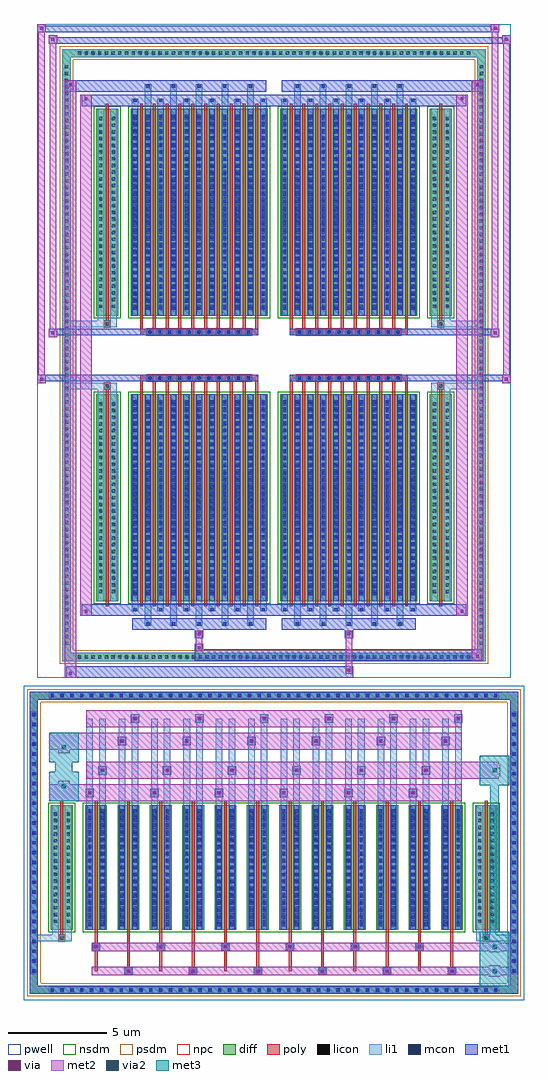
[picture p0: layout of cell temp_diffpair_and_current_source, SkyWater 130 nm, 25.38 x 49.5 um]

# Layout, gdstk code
import gdstk
lib = gdstk.Library(unit=1e-6, precision=5e-09)
def R(c, l, rs):  # rectangles x0, y0, x1, y1
    for r in rs: c.add(gdstk.rectangle(r[:2], r[2:], *l))
def A(c, l, x, y, w, h, nx, ny, dx, dy):  # array of equal rectangles
    R(c, l, [(x+i*dx, y+j*dy, x+i*dx+w, y+j*dy+h) for i in range(nx) for j in range(ny)])
def P(c, l, *ps):  # polygons
    for p in ps: c.add(gdstk.Polygon(p, *l))
pwell = (64, 44)
diff = (65, 20)
poly = (66, 20)
licon = (66, 44)
li1 = (67, 20)
mcon = (67, 44)
met1 = (68, 20)
via = (68, 44)
met2 = (69, 20)
via2 = (69, 44)
met3 = (70, 20)
nsdm = (93, 44)
psdm = (94, 20)
npc = (95, 20)

diff_pair_5f8ec16b = lib.new_cell('diff_pair_5f8ec16b')
R(diff_pair_5f8ec16b, pwell, [(-12,-16.36,12,16.79), (-9.32,-14.11,-0.01,-0.805), (0.01,-14.11,9.32,-0.805), (-9.32,0.805,-0.01,14.11), (0.01,0.805,9.32,14.11)])
A(diff_pair_5f8ec16b, diff, -10.065, -15.52, 0.41, 0.41, 59, 2, 0.34, 30.63)
A(diff_pair_5f8ec16b, diff, -10.73, -14.825, 0.41, 0.41, 1, 87, 0, 0.34)
A(diff_pair_5f8ec16b, diff, 10.32, -14.825, 0.41, 0.41, 1, 87, 0, 0.34)
R(diff_pair_5f8ec16b, diff, [(-10.065,-15.52,10.065,-15.11), (-10.73,-14.825,-10.32,14.825), (10.32,-14.825,10.73,14.825), (-9.01,-12.485,-7.91,-1.985), (-7.27,-12.485,-0.32,-1.985), (0.32,-12.485,7.27,-1.985), (7.91,-12.485,9.01,-1.985), (-9.01,1.985,-7.91,12.485), (-7.27,1.985,-0.32,12.485), (0.32,1.985,7.27,12.485), (7.91,1.985,9.01,12.485), (-10.065,15.11,10.065,15.52)])
P(diff_pair_5f8ec16b, diff, [(10.73,15.52),(-10.73,15.52),(-10.73,-15.11),(-10.32,-15.11),(-10.32,15.11),(10.32,15.11),(10.32,-15.11),(-10.32,-15.11),(-10.73,-15.11),(-10.73,-15.52),(10.73,-15.52)])
A(diff_pair_5f8ec16b, poly, -6.795, -12.735, 0.15, 11, 10, 2, 0.65, 14.47)
A(diff_pair_5f8ec16b, poly, 0.795, -12.735, 0.15, 11, 10, 2, 0.65, 14.47)
A(diff_pair_5f8ec16b, poly, -6.795, -1.735, 0.15, 0.4, 10, 2, 0.65, 3.07)
A(diff_pair_5f8ec16b, poly, 0.795, -1.735, 0.15, 0.4, 10, 2, 0.65, 3.07)
A(diff_pair_5f8ec16b, poly, -6.46, -1.335, 0.33, 0.33, 11, 2, 0.5, 2.34)
A(diff_pair_5f8ec16b, poly, 1.13, -1.335, 0.33, 0.33, 11, 2, 0.5, 2.34)
R(diff_pair_5f8ec16b, poly, [(-8.535,-12.735,-8.385,-1.735), (8.385,-12.735,8.535,-1.735), (-8.625,-1.735,-8.295,-1.405), (-8.625,-1.735,-8.295,-1.405), (8.295,-1.735,8.625,-1.405), (8.295,-1.735,8.625,-1.405), (-6.795,-1.335,-0.795,-1.005), (0.795,-1.335,6.795,-1.005), (-6.795,1.005,-0.795,1.335), (0.795,1.005,6.795,1.335), (-8.625,1.405,-8.295,1.735), (-8.625,1.405,-8.295,1.735), (8.295,1.405,8.625,1.735), (8.295,1.405,8.625,1.735), (-8.535,1.735,-8.385,12.735), (8.385,1.735,8.535,12.735)])
A(diff_pair_5f8ec16b, licon, -9.945, -15.4, 0.17, 0.17, 59, 2, 0.34, 30.63)
A(diff_pair_5f8ec16b, licon, -10.61, -14.705, 0.17, 0.17, 1, 87, 0, 0.34)
A(diff_pair_5f8ec16b, licon, 10.44, -14.705, 0.17, 0.17, 1, 87, 0, 0.34)
A(diff_pair_5f8ec16b, licon, -8.87, -12.08, 0.17, 0.17, 1, 29, 0, 0.34)
A(diff_pair_5f8ec16b, licon, -8.22, -12.08, 0.17, 0.17, 1, 29, 0, 0.34)
A(diff_pair_5f8ec16b, licon, -7.13, -12.08, 0.17, 0.17, 11, 29, 0.65, 0.34)
A(diff_pair_5f8ec16b, licon, 0.46, -12.08, 0.17, 0.17, 11, 29, 0.65, 0.34)
A(diff_pair_5f8ec16b, licon, 8.05, -12.08, 0.17, 0.17, 1, 29, 0, 0.34)
A(diff_pair_5f8ec16b, licon, 8.7, -12.08, 0.17, 0.17, 1, 29, 0, 0.34)
A(diff_pair_5f8ec16b, licon, -6.38, -1.255, 0.17, 0.17, 11, 2, 0.5, 2.34)
A(diff_pair_5f8ec16b, licon, 1.21, -1.255, 0.17, 0.17, 11, 2, 0.5, 2.34)
A(diff_pair_5f8ec16b, licon, -8.87, 2.39, 0.17, 0.17, 1, 29, 0, 0.34)
A(diff_pair_5f8ec16b, licon, -8.22, 2.39, 0.17, 0.17, 1, 29, 0, 0.34)
A(diff_pair_5f8ec16b, licon, -7.13, 2.39, 0.17, 0.17, 11, 29, 0.65, 0.34)
A(diff_pair_5f8ec16b, licon, 0.46, 2.39, 0.17, 0.17, 11, 29, 0.65, 0.34)
A(diff_pair_5f8ec16b, licon, 8.05, 2.39, 0.17, 0.17, 1, 29, 0, 0.34)
A(diff_pair_5f8ec16b, licon, 8.7, 2.39, 0.17, 0.17, 1, 29, 0, 0.34)
R(diff_pair_5f8ec16b, licon, [(-8.545,-1.655,-8.375,-1.485), (8.375,-1.655,8.545,-1.485), (-8.545,1.485,-8.375,1.655), (8.375,1.485,8.545,1.655)])
A(diff_pair_5f8ec16b, li1, -10.025, -15.48, 0.33, 0.33, 59, 2, 0.34, 30.63)
A(diff_pair_5f8ec16b, li1, -10.69, -14.785, 0.33, 0.33, 1, 87, 0, 0.34)
A(diff_pair_5f8ec16b, li1, 10.36, -14.785, 0.33, 0.33, 1, 87, 0, 0.34)
A(diff_pair_5f8ec16b, li1, -6.56, -13.725, 0.33, 1.24, 5, 2, 1.3, 26.21)
A(diff_pair_5f8ec16b, li1, -6.48, -13.725, 0.17, 0.17, 5, 2, 1.3, 27.28)
A(diff_pair_5f8ec16b, li1, 1.03, -13.725, 0.33, 1.24, 5, 2, 1.3, 26.21)
A(diff_pair_5f8ec16b, li1, 1.11, -13.725, 0.17, 0.17, 5, 2, 1.3, 27.28)
A(diff_pair_5f8ec16b, li1, -7.21, -13.005, 0.33, 0.52, 6, 2, 1.3, 25.49)
A(diff_pair_5f8ec16b, li1, -7.13, -13.005, 0.17, 0.17, 6, 2, 1.3, 25.84)
A(diff_pair_5f8ec16b, li1, 0.38, -13.005, 0.33, 0.52, 6, 2, 1.3, 25.49)
A(diff_pair_5f8ec16b, li1, 0.46, -13.005, 0.17, 0.17, 6, 2, 1.3, 25.84)
A(diff_pair_5f8ec16b, li1, -7.21, -12.485, 0.33, 10.5, 11, 2, 0.65, 14.47)
A(diff_pair_5f8ec16b, li1, 0.38, -12.485, 0.33, 10.5, 11, 2, 0.65, 14.47)
A(diff_pair_5f8ec16b, li1, -7.13, -12.18, 0.17, 0.17, 11, 28, 0.65, 0.36)
A(diff_pair_5f8ec16b, li1, -7.13, -12.18, 0.17, 9.89, 11, 2, 0.65, 14.47)
A(diff_pair_5f8ec16b, li1, 0.46, -12.18, 0.17, 0.17, 11, 28, 0.65, 0.36)
A(diff_pair_5f8ec16b, li1, 0.46, -12.18, 0.17, 9.89, 11, 2, 0.65, 14.47)
A(diff_pair_5f8ec16b, li1, -8.95, -12.16, 0.33, 0.33, 1, 29, 0, 0.34)
A(diff_pair_5f8ec16b, li1, -8.3, -12.16, 0.33, 0.33, 1, 29, 0, 0.34)
A(diff_pair_5f8ec16b, li1, -7.21, -12.16, 0.33, 0.33, 11, 29, 0.65, 0.34)
A(diff_pair_5f8ec16b, li1, 0.38, -12.16, 0.33, 0.33, 11, 29, 0.65, 0.34)
A(diff_pair_5f8ec16b, li1, 7.97, -12.16, 0.33, 0.33, 1, 29, 0, 0.34)
A(diff_pair_5f8ec16b, li1, 8.62, -12.16, 0.33, 0.33, 1, 29, 0, 0.34)
A(diff_pair_5f8ec16b, li1, -6.46, -1.335, 0.33, 0.33, 11, 2, 0.5, 2.34)
A(diff_pair_5f8ec16b, li1, 1.13, -1.335, 0.33, 0.33, 11, 2, 0.5, 2.34)
A(diff_pair_5f8ec16b, li1, -7.13, 2.29, 0.17, 0.17, 11, 28, 0.65, 0.36)
A(diff_pair_5f8ec16b, li1, 0.46, 2.29, 0.17, 0.17, 11, 28, 0.65, 0.36)
A(diff_pair_5f8ec16b, li1, -8.95, 2.31, 0.33, 0.33, 1, 29, 0, 0.34)
A(diff_pair_5f8ec16b, li1, -8.3, 2.31, 0.33, 0.33, 1, 29, 0, 0.34)
A(diff_pair_5f8ec16b, li1, -7.21, 2.31, 0.33, 0.33, 11, 29, 0.65, 0.34)
A(diff_pair_5f8ec16b, li1, 0.38, 2.31, 0.33, 0.33, 11, 29, 0.65, 0.34)
A(diff_pair_5f8ec16b, li1, 7.97, 2.31, 0.33, 0.33, 1, 29, 0, 0.34)
A(diff_pair_5f8ec16b, li1, 8.62, 2.31, 0.33, 0.33, 1, 29, 0, 0.34)
R(diff_pair_5f8ec16b, li1, [(-10.73,-15.52,-10.32,-15.11), (-10.73,-15.52,-10.32,-15.11), (-10.32,-15.52,10.32,-15.11), (10.32,-15.52,10.73,-15.11), (10.32,-15.52,10.73,-15.11), (-10.73,-15.11,-10.32,15.11), (10.32,-15.11,10.73,15.11), (-8.95,-12.485,-8.62,-1.985), (-8.3,-12.485,-7.97,-1.985), (7.97,-12.485,8.3,-1.985), (8.62,-12.485,8.95,-1.985), (-8.95,-1.985,-8.62,-1.405), (-8.3,-1.985,-7.97,-1.405), (7.97,-1.985,8.3,-1.405), (8.62,-1.985,8.95,-1.405), (-10.73,-1.735,-8.625,-1.405), (-8.95,-1.735,-8.625,-1.405), (-8.625,-1.735,-8.295,-1.405), (-8.295,-1.735,-7.97,-1.405), (7.97,-1.735,8.295,-1.405), (8.295,-1.735,8.625,-1.405), (8.295,-1.735,10.73,-1.405), (8.625,-1.735,8.95,-1.405), (-10.73,1.405,-8.625,1.735), (-8.95,1.405,-8.625,1.735), (-8.95,1.405,-8.62,1.985), (-8.625,1.405,-8.295,1.735), (-8.3,1.405,-7.97,1.985), (-8.295,1.405,-7.97,1.735), (7.97,1.405,8.295,1.735), (7.97,1.405,8.3,1.985), (8.295,1.405,8.625,1.735), (8.295,1.405,10.73,1.735), (8.62,1.405,8.95,1.985), (8.625,1.405,8.95,1.735), (-8.95,1.985,-8.62,12.485), (-8.3,1.985,-7.97,12.485), (7.97,1.985,8.3,12.485), (8.62,1.985,8.95,12.485), (-10.73,15.11,-10.32,15.52), (-10.73,15.11,-10.32,15.52), (-10.32,15.11,10.32,15.52), (10.32,15.11,10.73,15.52), (10.32,15.11,10.73,15.52)])
A(diff_pair_5f8ec16b, mcon, -6.48, -13.725, 0.17, 0.17, 5, 2, 1.3, 27.28)
A(diff_pair_5f8ec16b, mcon, 1.11, -13.725, 0.17, 0.17, 5, 2, 1.3, 27.28)
A(diff_pair_5f8ec16b, mcon, -7.13, -13.005, 0.17, 0.17, 6, 2, 1.3, 25.84)
A(diff_pair_5f8ec16b, mcon, 0.46, -13.005, 0.17, 0.17, 6, 2, 1.3, 25.84)
A(diff_pair_5f8ec16b, mcon, -7.13, -12.18, 0.17, 0.17, 11, 28, 0.65, 0.36)
A(diff_pair_5f8ec16b, mcon, 0.46, -12.18, 0.17, 0.17, 11, 28, 0.65, 0.36)
A(diff_pair_5f8ec16b, mcon, -6.38, -1.255, 0.17, 0.17, 11, 2, 0.5, 2.34)
A(diff_pair_5f8ec16b, mcon, 1.21, -1.255, 0.17, 0.17, 11, 2, 0.5, 2.34)
A(diff_pair_5f8ec16b, mcon, -7.13, 2.29, 0.17, 0.17, 11, 28, 0.65, 0.36)
A(diff_pair_5f8ec16b, mcon, 0.46, 2.29, 0.17, 0.17, 11, 28, 0.65, 0.36)
A(diff_pair_5f8ec16b, met1, -6.54, -13.785, 0.29, 0.29, 5, 2, 1.3, 27.28)
A(diff_pair_5f8ec16b, met1, 1.05, -13.785, 0.29, 0.29, 5, 2, 1.3, 27.28)
A(diff_pair_5f8ec16b, met1, -7.19, -13.065, 0.29, 0.29, 6, 2, 1.3, 25.84)
A(diff_pair_5f8ec16b, met1, 0.4, -13.065, 0.29, 0.29, 6, 2, 1.3, 25.84)
A(diff_pair_5f8ec16b, met1, -7.19, -12.485, 0.29, 10.5, 11, 2, 0.65, 14.47)
A(diff_pair_5f8ec16b, met1, 0.4, -12.485, 0.29, 10.5, 11, 2, 0.65, 14.47)
A(diff_pair_5f8ec16b, met1, -7.19, -12.24, 0.29, 0.29, 11, 28, 0.65, 0.36)
A(diff_pair_5f8ec16b, met1, 0.4, -12.24, 0.29, 0.29, 11, 28, 0.65, 0.36)
A(diff_pair_5f8ec16b, met1, -6.44, -1.315, 0.29, 0.29, 11, 2, 0.5, 2.34)
A(diff_pair_5f8ec16b, met1, 1.15, -1.315, 0.29, 0.29, 11, 2, 0.5, 2.34)
A(diff_pair_5f8ec16b, met1, -7.19, 2.23, 0.29, 0.29, 11, 28, 0.65, 0.36)
A(diff_pair_5f8ec16b, met1, 0.4, 2.23, 0.29, 0.29, 11, 28, 0.65, 0.36)
R(diff_pair_5f8ec16b, met1, [(-10.535,-16.36,-10.105,-15.93), (-10.535,-16.36,4.01,-15.78), (3.58,-16.21,4.01,-15.78), (-4.01,-15.5,10.535,-14.92), (10.105,-15.5,10.535,-15.07), (-4.01,-15.07,-3.58,-14.64), (-4.01,-14.36,-3.58,-13.93), (3.58,-14.36,4.01,-13.93), (-7.19,-13.93,-0.4,-13.35), (0.4,-13.93,7.19,-13.35), (-9.75,-13.21,-9.32,-12.78), (-9.75,-13.21,-7.19,-12.63), (-7.19,-13.21,-0.4,-12.63), (-0.4,-13.21,0.4,-12.63), (0.4,-13.21,7.19,-12.63), (7.19,-13.21,9.75,-12.63), (9.32,-13.21,9.75,-12.78), (-12,-1.435,-11.57,-1.005), (11.57,-1.435,12,-1.005), (-12,-1.335,-0.795,-1.005), (-6.795,-1.335,-0.795,-1.005), (0.795,-1.335,6.795,-1.005), (0.795,-1.335,12,-1.005), (-11.43,0.905,-11,1.335), (11,0.905,11.43,1.335), (-11.43,1.005,-6.795,1.335), (-6.795,1.005,-0.795,1.335), (0.795,1.005,6.795,1.335), (6.795,1.005,11.43,1.335), (-9.75,12.63,-7.19,13.21), (-7.19,12.63,-0.4,13.21), (-0.4,12.63,0.4,13.21), (0.4,12.63,7.19,13.21), (7.19,12.63,9.75,13.21), (-9.75,12.78,-9.32,13.21), (9.32,12.78,9.75,13.21), (-10.535,13.35,-7.19,13.93), (-7.19,13.35,-0.4,13.93), (0.4,13.35,7.19,13.93), (7.19,13.35,10.535,13.93), (-10.535,13.5,-10.105,13.93), (10.105,13.5,10.535,13.93), (-11.43,15.79,-11,16.22), (-11.43,15.79,-9.32,16.12), (-9.32,15.79,9.32,16.12), (9.32,15.79,12,16.12), (11.57,15.79,12,16.22), (-12,16.36,-11.57,16.79), (-12,16.36,-9.32,16.69), (-9.32,16.36,9.32,16.69), (9.32,16.36,11.43,16.69), (11,16.36,11.43,16.79)])
R(diff_pair_5f8ec16b, via, [(-10.395,-16.22,-10.245,-16.07), (3.72,-16.07,3.87,-15.92), (10.245,-15.36,10.395,-15.21), (-3.87,-14.93,-3.72,-14.78), (-3.87,-14.22,-3.72,-14.07), (3.72,-14.22,3.87,-14.07), (-9.61,-13.07,-9.46,-12.92), (9.46,-13.07,9.61,-12.92), (-11.86,-1.295,-11.71,-1.145), (11.71,-1.295,11.86,-1.145), (-11.29,1.045,-11.14,1.195), (11.14,1.045,11.29,1.195), (-9.61,12.92,-9.46,13.07), (9.46,12.92,9.61,13.07), (-10.395,13.64,-10.245,13.79), (10.245,13.64,10.395,13.79), (-11.29,15.93,-11.14,16.08), (11.71,15.93,11.86,16.08), (-11.86,16.5,-11.71,16.65), (11.14,16.5,11.29,16.65)])
R(diff_pair_5f8ec16b, met2, [(-10.61,-16.36,-10.03,13.93), (-10.535,-16.36,-10.105,-15.93), (-10.105,-16.36,-10.03,-15.93), (-10.485,-16.31,-10.155,-15.98), (3.63,-16.16,3.96,-15.83), (3.63,-15.83,3.96,-14.31), (10.03,-15.5,10.61,13.93), (10.105,-15.5,10.535,-15.07), (10.535,-15.5,10.61,-15.07), (10.155,-15.45,10.485,-15.12), (-3.96,-15.02,-3.63,-14.69), (-3.96,-14.69,-3.63,-14.31), (-3.96,-14.31,-3.63,-13.98), (3.63,-14.31,3.96,-13.98), (-9.825,-13.21,-9.245,13.21), (-9.75,-13.21,-9.32,-12.78), (-9.32,-13.21,-9.245,-12.78), (9.245,-13.21,9.825,13.21), (9.32,-13.21,9.75,-12.78), (9.75,-13.21,9.825,-12.78), (-9.7,-13.16,-9.37,-12.83), (9.37,-13.16,9.7,-12.83), (-12,-1.435,-11.57,-1.005), (-11.95,-1.435,-11.62,16.79), (-11.62,-1.435,-11.57,-1.005), (11.57,-1.435,12,-1.005), (11.62,-1.435,11.95,16.22), (11.95,-1.435,12,-1.005), (-11.95,-1.385,-11.62,-1.055), (11.62,-1.385,11.95,-1.055), (-11.43,0.905,-11,1.335), (-11.38,0.905,-11.05,16.22), (-11.05,0.905,-11,1.335), (11,0.905,11.43,1.335), (11.05,0.905,11.38,16.79), (11.38,0.905,11.43,1.335), (-11.38,0.955,-11.05,1.285), (11.05,0.955,11.38,1.285), (-9.75,12.78,-9.32,13.21), (-9.32,12.78,-9.245,13.21), (9.32,12.78,9.75,13.21), (9.75,12.78,9.825,13.21), (-9.7,12.83,-9.37,13.16), (9.37,12.83,9.7,13.16), (-10.535,13.5,-10.105,13.93), (-10.105,13.5,-10.03,13.93), (10.105,13.5,10.535,13.93), (10.535,13.5,10.61,13.93), (-10.485,13.55,-10.155,13.88), (10.155,13.55,10.485,13.88), (-11.43,15.79,-11,16.22), (-11.05,15.79,-11,16.22), (11.57,15.79,12,16.22), (11.95,15.79,12,16.22), (-11.38,15.84,-11.05,16.17), (11.62,15.84,11.95,16.17), (-12,16.36,-11.57,16.79), (-11.62,16.36,-11.57,16.79), (11,16.36,11.43,16.79), (11.38,16.36,11.43,16.79), (-11.95,16.41,-11.62,16.74), (11.05,16.41,11.38,16.74)])
R(diff_pair_5f8ec16b, nsdm, [(-9.14,-12.615,-7.78,-1.855), (-7.4,-12.615,-0.19,-1.855), (0.19,-12.615,7.4,-1.855), (7.78,-12.615,9.14,-1.855), (-9.14,1.855,-7.78,12.615), (-7.4,1.855,-0.19,12.615), (0.19,1.855,7.4,12.615), (7.78,1.855,9.14,12.615)])
P(diff_pair_5f8ec16b, psdm, [(10.86,15.65),(-10.86,15.65),(-10.86,-14.98),(-10.19,-14.98),(-10.19,14.98),(10.19,14.98),(10.19,-14.98),(-10.19,-14.98),(-10.86,-14.98),(-10.86,-15.65),(10.86,-15.65)])
A(diff_pair_5f8ec16b, npc, -6.48, -1.355, 0.37, 0.37, 11, 2, 0.5, 2.34)
A(diff_pair_5f8ec16b, npc, 1.11, -1.355, 0.37, 0.37, 11, 2, 0.5, 2.34)
R(diff_pair_5f8ec16b, npc, [(-8.645,-1.755,-8.275,-1.385), (8.275,-1.755,8.645,-1.385), (-6.48,-1.355,-5.61,-0.985), (-6.48,-1.355,-5.61,-0.985), (-5.98,-1.355,-5.11,-0.985), (-5.98,-1.355,-5.11,-0.985), (-5.48,-1.355,-4.61,-0.985), (-5.48,-1.355,-4.61,-0.985), (-4.98,-1.355,-4.11,-0.985), (-4.98,-1.355,-4.11,-0.985), (-4.48,-1.355,-3.61,-0.985), (-4.48,-1.355,-3.61,-0.985), (-3.98,-1.355,-3.11,-0.985), (-3.98,-1.355,-3.11,-0.985), (-3.48,-1.355,-2.61,-0.985), (-3.48,-1.355,-2.61,-0.985), (-2.98,-1.355,-2.11,-0.985), (-2.98,-1.355,-2.11,-0.985), (-2.48,-1.355,-1.61,-0.985), (-2.48,-1.355,-1.61,-0.985), (-1.98,-1.355,-1.11,-0.985), (-1.98,-1.355,-1.11,-0.985), (1.11,-1.355,1.98,-0.985), (1.11,-1.355,1.98,-0.985), (1.61,-1.355,2.48,-0.985), (1.61,-1.355,2.48,-0.985), (2.11,-1.355,2.98,-0.985), (2.11,-1.355,2.98,-0.985), (2.61,-1.355,3.48,-0.985), (2.61,-1.355,3.48,-0.985), (3.11,-1.355,3.98,-0.985), (3.11,-1.355,3.98,-0.985), (3.61,-1.355,4.48,-0.985), (3.61,-1.355,4.48,-0.985), (4.11,-1.355,4.98,-0.985), (4.11,-1.355,4.98,-0.985), (4.61,-1.355,5.48,-0.985), (4.61,-1.355,5.48,-0.985), (5.11,-1.355,5.98,-0.985), (5.11,-1.355,5.98,-0.985), (5.61,-1.355,6.48,-0.985), (5.61,-1.355,6.48,-0.985), (-6.48,0.985,-5.61,1.355), (-6.48,0.985,-5.61,1.355), (-5.98,0.985,-5.11,1.355), (-5.98,0.985,-5.11,1.355), (-5.48,0.985,-4.61,1.355), (-5.48,0.985,-4.61,1.355), (-4.98,0.985,-4.11,1.355), (-4.98,0.985,-4.11,1.355), (-4.48,0.985,-3.61,1.355), (-4.48,0.985,-3.61,1.355), (-3.98,0.985,-3.11,1.355), (-3.98,0.985,-3.11,1.355), (-3.48,0.985,-2.61,1.355), (-3.48,0.985,-2.61,1.355), (-2.98,0.985,-2.11,1.355), (-2.98,0.985,-2.11,1.355), (-2.48,0.985,-1.61,1.355), (-2.48,0.985,-1.61,1.355), (-1.98,0.985,-1.11,1.355), (-1.98,0.985,-1.11,1.355), (1.11,0.985,1.98,1.355), (1.11,0.985,1.98,1.355), (1.61,0.985,2.48,1.355), (1.61,0.985,2.48,1.355), (2.11,0.985,2.98,1.355), (2.11,0.985,2.98,1.355), (2.61,0.985,3.48,1.355), (2.61,0.985,3.48,1.355), (3.11,0.985,3.98,1.355), (3.11,0.985,3.98,1.355), (3.61,0.985,4.48,1.355), (3.61,0.985,4.48,1.355), (4.11,0.985,4.98,1.355), (4.11,0.985,4.98,1.355), (4.61,0.985,5.48,1.355), (4.61,0.985,5.48,1.355), (5.11,0.985,5.98,1.355), (5.11,0.985,5.98,1.355), (5.61,0.985,6.48,1.355), (5.61,0.985,6.48,1.355), (-8.645,1.385,-8.275,1.755), (8.275,1.385,8.645,1.755)])

unnamed_882579d8_1 = lib.new_cell('Unnamed_882579d8$1')
A(unnamed_882579d8_1, diff, -11.455, -7.665, 0.41, 0.41, 46, 2, 0.5, 14.92)
A(unnamed_882579d8_1, diff, -12.38, -6.705, 0.41, 0.41, 1, 27, 0, 0.5)
A(unnamed_882579d8_1, diff, 11.97, -6.705, 0.41, 0.41, 1, 27, 0, 0.5)
R(unnamed_882579d8_1, diff, [(-11.455,-7.665,11.455,-7.255), (-12.38,-6.705,-11.97,6.705), (11.97,-6.705,12.38,6.705), (-11.455,7.255,11.455,7.665)])
P(unnamed_882579d8_1, diff, [(12.38,7.665),(-12.38,7.665),(-12.38,-7.255),(-11.97,-7.255),(-11.97,7.255),(11.97,7.255),(11.97,-7.255),(-11.97,-7.255),(-12.38,-7.255),(-12.38,-7.665),(12.38,-7.665)])
A(unnamed_882579d8_1, licon, -11.335, -7.545, 0.17, 0.17, 46, 2, 0.5, 14.92)
A(unnamed_882579d8_1, licon, -12.26, -6.585, 0.17, 0.17, 1, 27, 0, 0.5)
A(unnamed_882579d8_1, licon, 12.09, -6.585, 0.17, 0.17, 1, 27, 0, 0.5)
A(unnamed_882579d8_1, li1, -11.415, -7.625, 0.33, 0.33, 46, 2, 0.5, 14.92)
A(unnamed_882579d8_1, li1, -12.34, -6.665, 0.33, 0.33, 1, 27, 0, 0.5)
A(unnamed_882579d8_1, li1, 12.01, -6.665, 0.33, 0.33, 1, 27, 0, 0.5)
R(unnamed_882579d8_1, li1, [(-11.415,-7.625,11.415,-7.295), (-12.34,-6.665,-12.01,6.665), (12.01,-6.665,12.34,6.665), (-11.415,7.295,11.415,7.625)])
A(unnamed_882579d8_1, mcon, -11.335, -7.545, 0.17, 0.17, 46, 2, 0.5, 14.92)
A(unnamed_882579d8_1, mcon, -12.26, -6.585, 0.17, 0.17, 1, 27, 0, 0.5)
A(unnamed_882579d8_1, mcon, 12.09, -6.585, 0.17, 0.17, 1, 27, 0, 0.5)
A(unnamed_882579d8_1, met1, -11.395, -7.605, 0.29, 0.29, 46, 2, 0.5, 14.92)
A(unnamed_882579d8_1, met1, -12.32, -6.645, 0.29, 0.29, 1, 27, 0, 0.5)
A(unnamed_882579d8_1, met1, 12.03, -6.645, 0.29, 0.29, 1, 27, 0, 0.5)
R(unnamed_882579d8_1, met1, [(-12.38,-7.665,-11.97,-7.255), (-12.38,-7.665,-11.97,-7.255), (-11.97,-7.665,11.97,-7.255), (11.97,-7.665,12.38,-7.255), (11.97,-7.665,12.38,-7.255), (-12.38,-7.255,-11.97,7.255), (11.97,-7.255,12.38,7.255), (-12.38,7.255,-11.97,7.665), (-12.38,7.255,-11.97,7.665), (-11.97,7.255,11.97,7.665), (11.97,7.255,12.38,7.665), (11.97,7.255,12.38,7.665)])
P(unnamed_882579d8_1, psdm, [(12.51,7.795),(-12.51,7.795),(-12.51,-7.125),(-11.84,-7.125),(-11.84,7.125),(11.84,7.125),(11.84,-7.125),(-11.84,-7.125),(-12.51,-7.125),(-12.51,-7.795),(12.51,-7.795)])

straight_route_ade9a487 = lib.new_cell('straight_route_ade9a487')
R(straight_route_ade9a487, li1, [(-12.38,-4.99,-10.925,-4.66)])

straight_route_9b91ffcf = lib.new_cell('straight_route_9b91ffcf')
R(straight_route_9b91ffcf, li1, [(10.925,-4.99,12.38,-4.66)])

c_route_34533daa = lib.new_cell('c_route_34533daa')
R(c_route_34533daa, met2, [(10.895,-6.805,11.475,-6.225), (9.235,-6.73,11.935,-6.3), (10.895,-5.565,11.475,-4.985), (9.235,-5.49,11.935,-5.06)])
R(c_route_34533daa, via2, [(11.085,-6.615,11.285,-6.415), (11.085,-5.375,11.285,-5.175)])
R(c_route_34533daa, met3, [(10.435,-7.265,11.935,-5.765), (10.435,-7.265,11.935,-5.765), (10.97,-7.265,11.4,-4.525), (11.4,-7.265,11.935,-5.765), (10.435,-6.025,11.935,-4.525), (10.435,-6.025,11.935,-4.525), (11.4,-6.025,11.935,-4.525)])

l_route_2f57460a = lib.new_cell('L_route_2f57460a')
R(l_route_2f57460a, met2, [(9.51,3.245,11.4,4.105), (10.895,3.385,11.475,3.965)])
R(l_route_2f57460a, via2, [(11.085,3.575,11.285,3.775)])
R(l_route_2f57460a, met3, [(10.97,-4.525,11.4,4.105), (10.435,2.925,11.935,4.425), (10.435,2.925,11.935,4.425)])

c_route_22c38b65 = lib.new_cell('c_route_22c38b65')
R(c_route_22c38b65, met2, [(-11.41,2.105,-9.51,2.965), (-10.95,2.565,-10.37,3.145), (-10.95,4.545,-10.37,5.125), (-11.41,4.725,-9.51,5.585)])
R(c_route_22c38b65, via2, [(-10.76,2.755,-10.56,2.955), (-10.76,4.735,-10.56,4.935)])
R(c_route_22c38b65, met3, [(-11.41,2.105,-9.91,3.605), (-11.41,2.105,-9.91,3.605), (-11.09,2.105,-10.23,5.585), (-10.23,2.105,-9.91,3.605), (-11.41,4.085,-9.91,5.585), (-11.41,4.085,-9.91,5.585), (-10.23,4.085,-9.91,5.585)])

transformed_d9137448 = lib.new_cell('transformed_d9137448')
R(transformed_d9137448, pwell, [(-12.69,-7.975,12.69,7.975)])
A(transformed_d9137448, diff, -9.57, -4.41, 1.1, 6.3, 12, 1, 1.64, 0)
R(transformed_d9137448, diff, [(-11.31,-4.41,-10.21,1.89), (10.21,-4.41,11.31,1.89)])
A(transformed_d9137448, poly, -7.595, -6.73, 0.43, 0.43, 6, 1, 3.28, 0)
A(transformed_d9137448, poly, -7.545, -6.68, 0.33, 0.33, 6, 1, 3.28, 0)
A(transformed_d9137448, poly, -9.095, -6.515, 0.15, 1.855, 6, 1, 3.28, 0)
A(transformed_d9137448, poly, -7.455, -6.3, 0.15, 1.64, 6, 1, 3.28, 0)
A(transformed_d9137448, poly, -9.235, -5.49, 0.43, 0.43, 6, 1, 3.28, 0)
A(transformed_d9137448, poly, -9.185, -5.44, 0.33, 0.33, 6, 1, 3.28, 0)
A(transformed_d9137448, poly, -9.095, -5.06, 0.15, 0.4, 6, 1, 3.28, 0)
A(transformed_d9137448, poly, -9.095, -4.66, 0.15, 6.8, 12, 1, 1.64, 0)
R(transformed_d9137448, poly, [(-10.925,-4.99,-10.595,-4.66), (-10.925,-4.99,-10.595,-4.66), (10.595,-4.99,10.925,-4.66), (10.595,-4.99,10.925,-4.66), (-10.835,-4.66,-10.685,2.14), (10.685,-4.66,10.835,2.14)])
A(transformed_d9137448, licon, -7.465, -6.6, 0.17, 0.17, 6, 1, 3.28, 0)
A(transformed_d9137448, licon, -9.105, -5.36, 0.17, 0.17, 6, 1, 3.28, 0)
A(transformed_d9137448, licon, -11.17, -4.065, 0.17, 0.17, 1, 17, 0, 0.34)
A(transformed_d9137448, licon, -10.52, -4.065, 0.17, 0.17, 1, 17, 0, 0.34)
A(transformed_d9137448, licon, -9.43, -4.065, 0.17, 0.17, 1, 17, 0, 0.34)
A(transformed_d9137448, licon, -8.78, -4.065, 0.17, 0.17, 1, 17, 0, 0.34)
A(transformed_d9137448, licon, -7.79, -4.065, 0.17, 0.17, 1, 17, 0, 0.34)
A(transformed_d9137448, licon, -7.14, -4.065, 0.17, 0.17, 1, 17, 0, 0.34)
A(transformed_d9137448, licon, -6.15, -4.065, 0.17, 0.17, 1, 17, 0, 0.34)
A(transformed_d9137448, licon, -5.5, -4.065, 0.17, 0.17, 1, 17, 0, 0.34)
A(transformed_d9137448, licon, -4.51, -4.065, 0.17, 0.17, 1, 17, 0, 0.34)
A(transformed_d9137448, licon, -3.86, -4.065, 0.17, 0.17, 1, 17, 0, 0.34)
A(transformed_d9137448, licon, -2.87, -4.065, 0.17, 0.17, 1, 17, 0, 0.34)
A(transformed_d9137448, licon, -2.22, -4.065, 0.17, 0.17, 1, 17, 0, 0.34)
A(transformed_d9137448, licon, -1.23, -4.065, 0.17, 0.17, 1, 17, 0, 0.34)
A(transformed_d9137448, licon, -0.58, -4.065, 0.17, 0.17, 1, 17, 0, 0.34)
A(transformed_d9137448, licon, 0.41, -4.065, 0.17, 0.17, 1, 17, 0, 0.34)
A(transformed_d9137448, licon, 1.06, -4.065, 0.17, 0.17, 1, 17, 0, 0.34)
A(transformed_d9137448, licon, 2.05, -4.065, 0.17, 0.17, 1, 17, 0, 0.34)
A(transformed_d9137448, licon, 2.7, -4.065, 0.17, 0.17, 1, 17, 0, 0.34)
A(transformed_d9137448, licon, 3.69, -4.065, 0.17, 0.17, 1, 17, 0, 0.34)
A(transformed_d9137448, licon, 4.34, -4.065, 0.17, 0.17, 1, 17, 0, 0.34)
A(transformed_d9137448, licon, 5.33, -4.065, 0.17, 0.17, 1, 17, 0, 0.34)
A(transformed_d9137448, licon, 5.98, -4.065, 0.17, 0.17, 1, 17, 0, 0.34)
A(transformed_d9137448, licon, 6.97, -4.065, 0.17, 0.17, 1, 17, 0, 0.34)
A(transformed_d9137448, licon, 7.62, -4.065, 0.17, 0.17, 1, 17, 0, 0.34)
A(transformed_d9137448, licon, 8.61, -4.065, 0.17, 0.17, 1, 17, 0, 0.34)
A(transformed_d9137448, licon, 9.26, -4.065, 0.17, 0.17, 1, 17, 0, 0.34)
A(transformed_d9137448, licon, 10.35, -4.065, 0.17, 0.17, 1, 17, 0, 0.34)
A(transformed_d9137448, licon, 11, -4.065, 0.17, 0.17, 1, 17, 0, 0.34)
R(transformed_d9137448, licon, [(-10.845,-4.91,-10.675,-4.74), (10.675,-4.91,10.845,-4.74)])
A(transformed_d9137448, li1, -7.545, -6.68, 0.33, 0.33, 6, 1, 3.28, 0)
A(transformed_d9137448, li1, -9.185, -5.44, 0.33, 0.33, 6, 1, 3.28, 0)
A(transformed_d9137448, li1, -9.43, -4.225, 0.17, 0.17, 1, 17, 0, 0.36)
A(transformed_d9137448, li1, -8.78, -4.225, 0.17, 0.17, 1, 17, 0, 0.36)
A(transformed_d9137448, li1, -7.79, -4.225, 0.17, 0.17, 1, 17, 0, 0.36)
A(transformed_d9137448, li1, -7.14, -4.225, 0.17, 0.17, 1, 17, 0, 0.36)
A(transformed_d9137448, li1, -6.15, -4.225, 0.17, 0.17, 1, 17, 0, 0.36)
A(transformed_d9137448, li1, -5.5, -4.225, 0.17, 0.17, 1, 17, 0, 0.36)
A(transformed_d9137448, li1, -4.51, -4.225, 0.17, 0.17, 1, 17, 0, 0.36)
A(transformed_d9137448, li1, -3.86, -4.225, 0.17, 0.17, 1, 17, 0, 0.36)
A(transformed_d9137448, li1, -2.87, -4.225, 0.17, 0.17, 1, 17, 0, 0.36)
A(transformed_d9137448, li1, -2.22, -4.225, 0.17, 0.17, 1, 17, 0, 0.36)
A(transformed_d9137448, li1, -1.23, -4.225, 0.17, 0.17, 1, 17, 0, 0.36)
A(transformed_d9137448, li1, -0.58, -4.225, 0.17, 0.17, 1, 17, 0, 0.36)
A(transformed_d9137448, li1, 0.41, -4.225, 0.17, 0.17, 1, 17, 0, 0.36)
A(transformed_d9137448, li1, 1.06, -4.225, 0.17, 0.17, 1, 17, 0, 0.36)
A(transformed_d9137448, li1, 2.05, -4.225, 0.17, 0.17, 1, 17, 0, 0.36)
A(transformed_d9137448, li1, 2.7, -4.225, 0.17, 0.17, 1, 17, 0, 0.36)
A(transformed_d9137448, li1, 3.69, -4.225, 0.17, 0.17, 1, 17, 0, 0.36)
A(transformed_d9137448, li1, 4.34, -4.225, 0.17, 0.17, 1, 17, 0, 0.36)
A(transformed_d9137448, li1, 5.33, -4.225, 0.17, 0.17, 1, 17, 0, 0.36)
A(transformed_d9137448, li1, 5.98, -4.225, 0.17, 0.17, 1, 17, 0, 0.36)
A(transformed_d9137448, li1, 6.97, -4.225, 0.17, 0.17, 1, 17, 0, 0.36)
A(transformed_d9137448, li1, 7.62, -4.225, 0.17, 0.17, 1, 17, 0, 0.36)
A(transformed_d9137448, li1, 8.61, -4.225, 0.17, 0.17, 1, 17, 0, 0.36)
A(transformed_d9137448, li1, 9.26, -4.225, 0.17, 0.17, 1, 17, 0, 0.36)
A(transformed_d9137448, li1, -11.25, -4.145, 0.33, 0.33, 1, 17, 0, 0.34)
A(transformed_d9137448, li1, -10.6, -4.145, 0.33, 0.33, 1, 17, 0, 0.34)
A(transformed_d9137448, li1, -9.51, -4.145, 0.33, 0.33, 1, 17, 0, 0.34)
A(transformed_d9137448, li1, -8.86, -4.145, 0.33, 0.33, 1, 17, 0, 0.34)
A(transformed_d9137448, li1, -7.87, -4.145, 0.33, 0.33, 1, 17, 0, 0.34)
A(transformed_d9137448, li1, -7.22, -4.145, 0.33, 0.33, 1, 17, 0, 0.34)
A(transformed_d9137448, li1, -6.23, -4.145, 0.33, 0.33, 1, 17, 0, 0.34)
A(transformed_d9137448, li1, -5.58, -4.145, 0.33, 0.33, 1, 17, 0, 0.34)
A(transformed_d9137448, li1, -4.59, -4.145, 0.33, 0.33, 1, 17, 0, 0.34)
A(transformed_d9137448, li1, -3.94, -4.145, 0.33, 0.33, 1, 17, 0, 0.34)
A(transformed_d9137448, li1, -2.95, -4.145, 0.33, 0.33, 1, 17, 0, 0.34)
A(transformed_d9137448, li1, -2.3, -4.145, 0.33, 0.33, 1, 17, 0, 0.34)
A(transformed_d9137448, li1, -1.31, -4.145, 0.33, 0.33, 1, 17, 0, 0.34)
A(transformed_d9137448, li1, -0.66, -4.145, 0.33, 0.33, 1, 17, 0, 0.34)
A(transformed_d9137448, li1, 0.33, -4.145, 0.33, 0.33, 1, 17, 0, 0.34)
A(transformed_d9137448, li1, 0.98, -4.145, 0.33, 0.33, 1, 17, 0, 0.34)
A(transformed_d9137448, li1, 1.97, -4.145, 0.33, 0.33, 1, 17, 0, 0.34)
A(transformed_d9137448, li1, 2.62, -4.145, 0.33, 0.33, 1, 17, 0, 0.34)
A(transformed_d9137448, li1, 3.61, -4.145, 0.33, 0.33, 1, 17, 0, 0.34)
A(transformed_d9137448, li1, 4.26, -4.145, 0.33, 0.33, 1, 17, 0, 0.34)
A(transformed_d9137448, li1, 5.25, -4.145, 0.33, 0.33, 1, 17, 0, 0.34)
A(transformed_d9137448, li1, 5.9, -4.145, 0.33, 0.33, 1, 17, 0, 0.34)
A(transformed_d9137448, li1, 6.89, -4.145, 0.33, 0.33, 1, 17, 0, 0.34)
A(transformed_d9137448, li1, 7.54, -4.145, 0.33, 0.33, 1, 17, 0, 0.34)
A(transformed_d9137448, li1, 8.53, -4.145, 0.33, 0.33, 1, 17, 0, 0.34)
A(transformed_d9137448, li1, 9.18, -4.145, 0.33, 0.33, 1, 17, 0, 0.34)
A(transformed_d9137448, li1, 10.27, -4.145, 0.33, 0.33, 1, 17, 0, 0.34)
A(transformed_d9137448, li1, 10.92, -4.145, 0.33, 0.33, 1, 17, 0, 0.34)
A(transformed_d9137448, li1, -9.51, 1.89, 0.33, 0.73, 6, 1, 3.28, 0)
A(transformed_d9137448, li1, -8.86, 1.89, 0.33, 1.87, 6, 1, 3.28, 0)
A(transformed_d9137448, li1, -7.87, 1.89, 0.33, 3.35, 6, 1, 3.28, 0)
A(transformed_d9137448, li1, -7.22, 1.89, 0.33, 4.49, 6, 1, 3.28, 0)
A(transformed_d9137448, li1, -9.43, 2.45, 0.17, 0.17, 6, 1, 3.28, 0)
A(transformed_d9137448, li1, -8.78, 3.59, 0.17, 0.17, 6, 1, 3.28, 0)
A(transformed_d9137448, li1, -7.79, 5.07, 0.17, 0.17, 6, 1, 3.28, 0)
A(transformed_d9137448, li1, -7.14, 6.21, 0.17, 0.17, 6, 1, 3.28, 0)
R(transformed_d9137448, li1, [(-11.25,-4.99,-10.925,-4.66), (-11.25,-4.99,-10.92,-4.41), (-10.925,-4.99,-10.595,-4.66), (-10.6,-4.99,-10.27,-4.41), (-10.595,-4.99,-10.27,-4.66), (10.27,-4.99,10.595,-4.66), (10.27,-4.99,10.6,-4.41), (10.595,-4.99,10.925,-4.66), (10.92,-4.99,11.25,-4.41), (10.925,-4.99,11.25,-4.66), (-11.25,-4.41,-10.92,1.89), (-10.6,-4.41,-10.27,1.89), (-9.51,-4.41,-9.18,1.89), (-8.86,-4.41,-8.53,1.89), (-7.87,-4.41,-7.54,1.89), (-7.22,-4.41,-6.89,1.89), (-6.23,-4.41,-5.9,1.89), (-5.58,-4.41,-5.25,1.89), (-4.59,-4.41,-4.26,1.89), (-3.94,-4.41,-3.61,1.89), (-2.95,-4.41,-2.62,1.89), (-2.3,-4.41,-1.97,1.89), (-1.31,-4.41,-0.98,1.89), (-0.66,-4.41,-0.33,1.89), (0.33,-4.41,0.66,1.89), (0.98,-4.41,1.31,1.89), (1.97,-4.41,2.3,1.89), (2.62,-4.41,2.95,1.89), (3.61,-4.41,3.94,1.89), (4.26,-4.41,4.59,1.89), (5.25,-4.41,5.58,1.89), (5.9,-4.41,6.23,1.89), (6.89,-4.41,7.22,1.89), (7.54,-4.41,7.87,1.89), (8.53,-4.41,8.86,1.89), (9.18,-4.41,9.51,1.89), (10.27,-4.41,10.6,1.89), (10.92,-4.41,11.25,1.89), (-9.43,-4.225,-9.26,1.705), (-8.78,-4.225,-8.61,1.705), (-7.79,-4.225,-7.62,1.705), (-7.14,-4.225,-6.97,1.705), (-6.15,-4.225,-5.98,1.705), (-5.5,-4.225,-5.33,1.705), (-4.51,-4.225,-4.34,1.705), (-3.86,-4.225,-3.69,1.705), (-2.87,-4.225,-2.7,1.705), (-2.22,-4.225,-2.05,1.705), (-1.23,-4.225,-1.06,1.705), (-0.58,-4.225,-0.41,1.705), (0.41,-4.225,0.58,1.705), (1.06,-4.225,1.23,1.705), (2.05,-4.225,2.22,1.705), (2.7,-4.225,2.87,1.705), (3.69,-4.225,3.86,1.705), (4.34,-4.225,4.51,1.705), (5.33,-4.225,5.5,1.705), (5.98,-4.225,6.15,1.705), (6.97,-4.225,7.14,1.705), (7.62,-4.225,7.79,1.705), (8.61,-4.225,8.78,1.705), (9.26,-4.225,9.43,1.705), (-9.51,1.89,-9.18,6.295), (-8.86,1.89,-8.53,6.295), (-7.87,1.89,-7.54,6.295), (-7.22,1.89,-6.89,6.295), (-6.23,1.89,-5.9,6.295), (-5.58,1.89,-5.25,6.295), (-4.59,1.89,-4.26,6.295), (-3.94,1.89,-3.61,6.295), (-2.95,1.89,-2.62,6.295), (-2.3,1.89,-1.97,6.295), (-1.31,1.89,-0.98,6.295), (-0.66,1.89,-0.33,6.295), (0.33,1.89,0.66,6.295), (0.98,1.89,1.31,6.295), (1.97,1.89,2.3,6.295), (2.62,1.89,2.95,6.295), (3.61,1.89,3.94,6.295), (4.26,1.89,4.59,6.295), (5.25,1.89,5.58,6.295), (5.9,1.89,6.23,6.295), (6.89,1.89,7.22,6.295), (7.54,1.89,7.87,6.295), (8.53,1.89,8.86,6.295), (9.18,1.89,9.51,6.295)])
A(transformed_d9137448, mcon, -7.465, -6.6, 0.17, 0.17, 6, 1, 3.28, 0)
A(transformed_d9137448, mcon, -9.105, -5.36, 0.17, 0.17, 6, 1, 3.28, 0)
A(transformed_d9137448, mcon, -9.43, -4.225, 0.17, 0.17, 1, 17, 0, 0.36)
A(transformed_d9137448, mcon, -8.78, -4.225, 0.17, 0.17, 1, 17, 0, 0.36)
A(transformed_d9137448, mcon, -7.79, -4.225, 0.17, 0.17, 1, 17, 0, 0.36)
A(transformed_d9137448, mcon, -7.14, -4.225, 0.17, 0.17, 1, 17, 0, 0.36)
A(transformed_d9137448, mcon, -6.15, -4.225, 0.17, 0.17, 1, 17, 0, 0.36)
A(transformed_d9137448, mcon, -5.5, -4.225, 0.17, 0.17, 1, 17, 0, 0.36)
A(transformed_d9137448, mcon, -4.51, -4.225, 0.17, 0.17, 1, 17, 0, 0.36)
A(transformed_d9137448, mcon, -3.86, -4.225, 0.17, 0.17, 1, 17, 0, 0.36)
A(transformed_d9137448, mcon, -2.87, -4.225, 0.17, 0.17, 1, 17, 0, 0.36)
A(transformed_d9137448, mcon, -2.22, -4.225, 0.17, 0.17, 1, 17, 0, 0.36)
A(transformed_d9137448, mcon, -1.23, -4.225, 0.17, 0.17, 1, 17, 0, 0.36)
A(transformed_d9137448, mcon, -0.58, -4.225, 0.17, 0.17, 1, 17, 0, 0.36)
A(transformed_d9137448, mcon, 0.41, -4.225, 0.17, 0.17, 1, 17, 0, 0.36)
A(transformed_d9137448, mcon, 1.06, -4.225, 0.17, 0.17, 1, 17, 0, 0.36)
A(transformed_d9137448, mcon, 2.05, -4.225, 0.17, 0.17, 1, 17, 0, 0.36)
A(transformed_d9137448, mcon, 2.7, -4.225, 0.17, 0.17, 1, 17, 0, 0.36)
A(transformed_d9137448, mcon, 3.69, -4.225, 0.17, 0.17, 1, 17, 0, 0.36)
A(transformed_d9137448, mcon, 4.34, -4.225, 0.17, 0.17, 1, 17, 0, 0.36)
A(transformed_d9137448, mcon, 5.33, -4.225, 0.17, 0.17, 1, 17, 0, 0.36)
A(transformed_d9137448, mcon, 5.98, -4.225, 0.17, 0.17, 1, 17, 0, 0.36)
A(transformed_d9137448, mcon, 6.97, -4.225, 0.17, 0.17, 1, 17, 0, 0.36)
A(transformed_d9137448, mcon, 7.62, -4.225, 0.17, 0.17, 1, 17, 0, 0.36)
A(transformed_d9137448, mcon, 8.61, -4.225, 0.17, 0.17, 1, 17, 0, 0.36)
A(transformed_d9137448, mcon, 9.26, -4.225, 0.17, 0.17, 1, 17, 0, 0.36)
A(transformed_d9137448, mcon, -9.43, 2.45, 0.17, 0.17, 6, 1, 3.28, 0)
A(transformed_d9137448, mcon, -8.78, 3.59, 0.17, 0.17, 6, 1, 3.28, 0)
A(transformed_d9137448, mcon, -7.79, 5.07, 0.17, 0.17, 6, 1, 3.28, 0)
A(transformed_d9137448, mcon, -7.14, 6.21, 0.17, 0.17, 6, 1, 3.28, 0)
A(transformed_d9137448, met1, -7.595, -6.73, 0.43, 0.43, 6, 1, 3.28, 0)
A(transformed_d9137448, met1, -9.235, -5.49, 0.43, 0.43, 6, 1, 3.28, 0)
A(transformed_d9137448, met1, -9.49, -4.285, 0.29, 0.29, 1, 17, 0, 0.36)
A(transformed_d9137448, met1, -8.84, -4.285, 0.29, 0.29, 1, 17, 0, 0.36)
A(transformed_d9137448, met1, -7.85, -4.285, 0.29, 0.29, 1, 17, 0, 0.36)
A(transformed_d9137448, met1, -7.2, -4.285, 0.29, 0.29, 1, 17, 0, 0.36)
A(transformed_d9137448, met1, -6.21, -4.285, 0.29, 0.29, 1, 17, 0, 0.36)
A(transformed_d9137448, met1, -5.56, -4.285, 0.29, 0.29, 1, 17, 0, 0.36)
A(transformed_d9137448, met1, -4.57, -4.285, 0.29, 0.29, 1, 17, 0, 0.36)
A(transformed_d9137448, met1, -3.92, -4.285, 0.29, 0.29, 1, 17, 0, 0.36)
A(transformed_d9137448, met1, -2.93, -4.285, 0.29, 0.29, 1, 17, 0, 0.36)
A(transformed_d9137448, met1, -2.28, -4.285, 0.29, 0.29, 1, 17, 0, 0.36)
A(transformed_d9137448, met1, -1.29, -4.285, 0.29, 0.29, 1, 17, 0, 0.36)
A(transformed_d9137448, met1, -0.64, -4.285, 0.29, 0.29, 1, 17, 0, 0.36)
A(transformed_d9137448, met1, 0.35, -4.285, 0.29, 0.29, 1, 17, 0, 0.36)
A(transformed_d9137448, met1, 1, -4.285, 0.29, 0.29, 1, 17, 0, 0.36)
A(transformed_d9137448, met1, 1.99, -4.285, 0.29, 0.29, 1, 17, 0, 0.36)
A(transformed_d9137448, met1, 2.64, -4.285, 0.29, 0.29, 1, 17, 0, 0.36)
A(transformed_d9137448, met1, 3.63, -4.285, 0.29, 0.29, 1, 17, 0, 0.36)
A(transformed_d9137448, met1, 4.28, -4.285, 0.29, 0.29, 1, 17, 0, 0.36)
A(transformed_d9137448, met1, 5.27, -4.285, 0.29, 0.29, 1, 17, 0, 0.36)
A(transformed_d9137448, met1, 5.92, -4.285, 0.29, 0.29, 1, 17, 0, 0.36)
A(transformed_d9137448, met1, 6.91, -4.285, 0.29, 0.29, 1, 17, 0, 0.36)
A(transformed_d9137448, met1, 7.56, -4.285, 0.29, 0.29, 1, 17, 0, 0.36)
A(transformed_d9137448, met1, 8.55, -4.285, 0.29, 0.29, 1, 17, 0, 0.36)
A(transformed_d9137448, met1, 9.2, -4.285, 0.29, 0.29, 1, 17, 0, 0.36)
A(transformed_d9137448, met1, -9.56, 2.32, 0.43, 0.43, 6, 1, 3.28, 0)
A(transformed_d9137448, met1, -8.91, 3.46, 0.43, 0.43, 6, 1, 3.28, 0)
A(transformed_d9137448, met1, -7.92, 4.94, 0.43, 0.43, 6, 1, 3.28, 0)
A(transformed_d9137448, met1, -7.27, 6.08, 0.43, 0.43, 6, 1, 3.28, 0)
R(transformed_d9137448, met1, [(-9.49,-4.41,-9.2,1.89), (-8.84,-4.41,-8.55,1.89), (-7.85,-4.41,-7.56,1.89), (-7.2,-4.41,-6.91,1.89), (-6.21,-4.41,-5.92,1.89), (-5.56,-4.41,-5.27,1.89), (-4.57,-4.41,-4.28,1.89), (-3.92,-4.41,-3.63,1.89), (-2.93,-4.41,-2.64,1.89), (-2.28,-4.41,-1.99,1.89), (-1.29,-4.41,-1,1.89), (-0.64,-4.41,-0.35,1.89), (0.35,-4.41,0.64,1.89), (1,-4.41,1.29,1.89), (1.99,-4.41,2.28,1.89), (2.64,-4.41,2.93,1.89), (3.63,-4.41,3.92,1.89), (4.28,-4.41,4.57,1.89), (5.27,-4.41,5.56,1.89), (5.92,-4.41,6.21,1.89), (6.91,-4.41,7.2,1.89), (7.56,-4.41,7.85,1.89), (8.55,-4.41,8.84,1.89), (9.2,-4.41,9.49,1.89)])
A(transformed_d9137448, via, -7.455, -6.59, 0.15, 0.15, 6, 1, 3.28, 0)
A(transformed_d9137448, via, -9.095, -5.35, 0.15, 0.15, 6, 1, 3.28, 0)
A(transformed_d9137448, via, -9.42, 2.46, 0.15, 0.15, 6, 1, 3.28, 0)
A(transformed_d9137448, via, -8.77, 3.6, 0.15, 0.15, 6, 1, 3.28, 0)
A(transformed_d9137448, via, -7.78, 5.08, 0.15, 0.15, 6, 1, 3.28, 0)
A(transformed_d9137448, via, -7.13, 6.22, 0.15, 0.15, 6, 1, 3.28, 0)
A(transformed_d9137448, met2, -7.595, -6.73, 0.43, 0.43, 6, 1, 3.28, 0)
A(transformed_d9137448, met2, -7.545, -6.68, 0.33, 0.33, 6, 1, 3.28, 0)
A(transformed_d9137448, met2, -9.235, -5.49, 0.43, 0.43, 6, 1, 3.28, 0)
A(transformed_d9137448, met2, -9.185, -5.44, 0.33, 0.33, 6, 1, 3.28, 0)
A(transformed_d9137448, met2, -9.51, 2.105, 0.98, 0.86, 6, 2, 3.28, 1.14)
A(transformed_d9137448, met2, -9.51, 2.37, 0.33, 0.33, 6, 1, 3.28, 0)
A(transformed_d9137448, met2, -8.86, 3.51, 0.33, 0.33, 6, 1, 3.28, 0)
A(transformed_d9137448, met2, -7.87, 4.725, 0.98, 0.86, 6, 2, 3.28, 1.14)
A(transformed_d9137448, met2, -7.87, 4.99, 0.33, 0.33, 6, 1, 3.28, 0)
A(transformed_d9137448, met2, -7.22, 6.13, 0.33, 0.33, 6, 1, 3.28, 0)
R(transformed_d9137448, met2, [(-9.235,-6.73,9.235,-6.3), (-9.235,-5.49,9.235,-5.06), (-9.51,2.105,9.51,2.965), (-9.51,3.245,9.51,4.105), (-9.51,4.725,9.51,5.585), (-9.51,5.865,9.51,6.725)])
A(transformed_d9137448, nsdm, -9.7, -4.54, 1.36, 6.56, 12, 1, 1.64, 0)
R(transformed_d9137448, nsdm, [(-11.44,-4.54,-10.08,2.02), (-9.7,-4.54,9.7,2.02), (10.08,-4.54,11.44,2.02)])
R(transformed_d9137448, npc, [(-7.565,-6.7,-7.195,-6.33), (-7.565,-6.7,-7.195,-6.33), (-4.285,-6.7,-3.915,-6.33), (-4.285,-6.7,-3.915,-6.33), (-1.005,-6.7,-0.635,-6.33), (-1.005,-6.7,-0.635,-6.33), (2.275,-6.7,2.645,-6.33), (2.275,-6.7,2.645,-6.33), (5.555,-6.7,5.925,-6.33), (5.555,-6.7,5.925,-6.33), (8.835,-6.7,9.205,-6.33), (-9.205,-5.46,-8.835,-5.09), (-5.925,-5.46,-5.555,-5.09), (-5.925,-5.46,-5.555,-5.09), (-2.645,-5.46,-2.275,-5.09), (-2.645,-5.46,-2.275,-5.09), (0.635,-5.46,1.005,-5.09), (0.635,-5.46,1.005,-5.09), (3.915,-5.46,4.285,-5.09), (3.915,-5.46,4.285,-5.09), (7.195,-5.46,7.565,-5.09), (7.195,-5.46,7.565,-5.09), (-10.945,-5.01,-10.575,-4.64), (10.575,-5.01,10.945,-4.64)])
transformed_d9137448.add(gdstk.Reference(unnamed_882579d8_1, (0,0)))
transformed_d9137448.add(gdstk.Reference(straight_route_ade9a487, (0,0)))
transformed_d9137448.add(gdstk.Reference(straight_route_9b91ffcf, (0,0)))
transformed_d9137448.add(gdstk.Reference(c_route_34533daa, (0,0)))
transformed_d9137448.add(gdstk.Reference(l_route_2f57460a, (0,0)))
transformed_d9137448.add(gdstk.Reference(c_route_22c38b65, (0,0)))

temp_diffpair_and_curren = lib.new_cell('temp_diffpair_and_current_source')
temp_diffpair_and_curren.add(gdstk.Reference(diff_pair_5f8ec16b, (0,-0.215)))
temp_diffpair_and_curren.add(gdstk.Reference(transformed_d9137448, (0,-24.95)))

lib.write_gds('temp_diffpair_and_current_source.gds')
